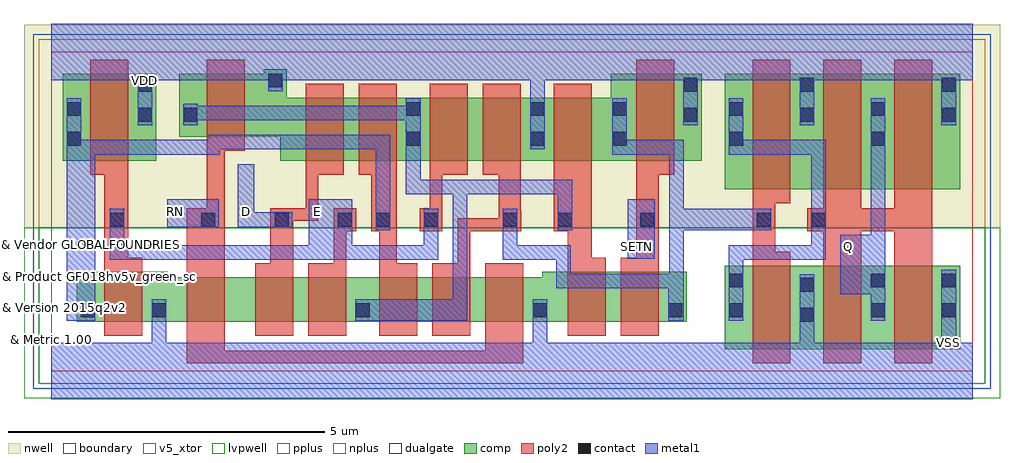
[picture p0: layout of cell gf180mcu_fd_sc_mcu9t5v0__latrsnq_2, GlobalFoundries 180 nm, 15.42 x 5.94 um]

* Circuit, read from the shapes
.subckt gf180mcu_fd_sc_mcu9t5v0__latrsnq_2 D E Q RN SETN VDD VSS
XM1 VSS E n1 VSUBS nfet_05v0 w=0.79u l=0.6u
XM2 n2 RN VSS VSUBS nfet_05v0 w=0.7u l=0.6u
XM3 n3 D n2 VSUBS nfet_05v0 w=0.7u l=0.6u
XM4 n4 E n3 VSUBS nfet_05v0 w=0.7u l=0.6u
XM5 n5 n1 n4 VSUBS nfet_05v0 w=0.7u l=0.6u
XM6 n6 n7 n5 VSUBS nfet_05v0 w=0.7u l=0.6u
XM7 VSS RN n6 VSUBS nfet_05v0 w=0.7u l=0.6u
XM8 n8 n4 VSS VSUBS nfet_05v0 w=0.79u l=0.6u
XM9 n7 SETN n8 VSUBS nfet_05v0 w=0.79u l=0.6u
XM10 VSS n7 n9 VSUBS nfet_05v0 w=1.32u l=0.6u
XM11 Q n9 VSS VSUBS nfet_05v0 w=1.32u l=0.6u m=2
XM12 VDD E n1 n10 pfet_05v0 w=1.38u l=0.6u
XM13 VDD RN n4 n10 pfet_05v0 w=1u l=0.6u
XM14 n11 D VDD n10 pfet_05v0 w=1u l=0.6u
XM15 n4 n1 n11 n10 pfet_05v0 w=1u l=0.6u
XM16 n12 E n4 n10 pfet_05v0 w=1u l=0.6u
XM17 VDD n7 n12 n10 pfet_05v0 w=1u l=0.6u
XM18 n7 n4 VDD n10 pfet_05v0 w=1u l=0.6u
XM19 VDD SETN n7 n10 pfet_05v0 w=1.38u l=0.6u
XM20 VDD n7 n9 n10 pfet_05v0 w=1.83u l=0.6u
XM21 Q n9 VDD n10 pfet_05v0 w=1.83u l=0.6u m=2
.ends

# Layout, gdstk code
import gdstk
lib = gdstk.Library(unit=1e-6, precision=1e-09)
def R(c, l, rs):  # rectangles x0, y0, x1, y1
    for r in rs: c.add(gdstk.rectangle(r[:2], r[2:], *l))
def P(c, l, *ps):  # polygons
    for p in ps: c.add(gdstk.Polygon(p, *l))
boundary = (0, 0)
nwell = (21, 0)
comp = (22, 0)
poly2 = (30, 0)
pplus = (31, 0)
nplus = (32, 0)
contact = (33, 0)
metal1 = (34, 0)
dualgate = (55, 0)
v5_xtor = (112, 1)
lvpwell = (204, 0)

gf180mcu_fd_sc_mcu9t5v0_ = lib.new_cell('gf180mcu_fd_sc_mcu9t5v0__latrsnq_2')
R(gf180mcu_fd_sc_mcu9t5v0_, boundary, [(0,0,14.56,5.04)])
R(gf180mcu_fd_sc_mcu9t5v0_, nwell, [(-0.43,2.265,14.99,5.47)])
R(gf180mcu_fd_sc_mcu9t5v0_, comp, [(10.64,0.345,14.36,1.665), (10.64,2.87,14.36,4.7), (0.18,3.32,1.66,4.7)])
P(gf180mcu_fd_sc_mcu9t5v0_, comp, [(0.4,0.78),(0.4,1.57),(1.84,1.57),(1.84,1.48),(7.76,1.48),(7.76,1.57),(10.04,1.57),(10.04,0.78)],
  [(3.62,3.32),(3.62,3.7),(2.02,3.7),(2.02,4.7),(3.36,4.7),(3.36,4.77),(3.72,4.77),(3.72,4.32),(8.84,4.32),(8.84,4.7),(10.28,4.7),(10.28,3.32)])
P(gf180mcu_fd_sc_mcu9t5v0_, poly2, [(0.84,0.56),(0.84,3.1),(0.62,3.1),(0.62,4.92),(1.22,4.92),(1.22,1.79),(1.44,1.79),(1.44,0.56)],
  [(3.22,0.56),(3.22,1.7),(3.46,1.7),(3.46,2.57),(4.02,2.57),(4.02,4.54),(4.62,4.54),(4.62,3.1),(4.22,3.1),(4.22,2.37),(3.82,2.37),(3.82,0.56)],
  [(4.06,0.56),(4.06,1.7),(4.46,1.7),(4.46,2.57),(4.82,2.57),(4.82,2.21),(4.66,2.21),(4.66,0.56)],
  [(5.18,0.56),(5.18,2.21),(5.06,2.21),(5.06,3.1),(4.86,3.1),(4.86,4.54),(5.46,4.54),(5.46,1.7),(5.78,1.7),(5.78,0.56)],
  [(5.82,2.21),(5.82,2.57),(5.98,2.57),(5.98,4.54),(6.58,4.54),(6.58,3.1),(6.18,3.1),(6.18,2.21)],
  [(6.02,0.56),(6.02,1.7),(6.42,1.7),(6.42,2.41),(7.07,2.41),(7.07,3.1),(6.82,3.1),(6.82,4.54),(7.42,4.54),(7.42,2.54),(7.43,2.54),(7.43,2.21),(6.62,2.21),(6.62,0.56)],
  [(2.145,0.12),(2.145,0.56),(2.14,0.56),(2.14,2.57),(2.46,2.57),(2.46,4.92),(3.06,4.92),(3.06,3.48),(2.74,3.48),(2.74,0.32),(6.86,0.32),(6.86,1.7),(7.46,1.7),(7.46,0.12)],
  [(8.16,0.56),(8.16,2.21),(7.94,2.21),(7.94,4.54),(8.54,4.54),(8.54,1.79),(8.76,1.79),(8.76,0.56)],
  [(9,0.56),(9,1.79),(9.24,1.79),(9.24,4.92),(9.84,4.92),(9.84,3.1),(9.6,3.1),(9.6,0.56)],
  [(11.08,0.125),(11.08,4.92),(11.68,4.92),(11.68,2.65),(11.44,2.65),(11.44,1.885),(11.68,1.885),(11.68,0.125)],
  [(12.2,0.125),(12.2,2.21),(11.945,2.21),(11.945,2.57),(12.2,2.57),(12.2,4.92),(12.8,4.92),(12.8,2.57),(13.32,2.57),(13.32,4.92),(13.92,4.92),(13.92,0.125),(13.32,0.125),(13.32,2.21),(12.8,2.21),(12.8,0.125)])
R(gf180mcu_fd_sc_mcu9t5v0_, pplus, [(-0.2,2.265,14.76,5.24)])
R(gf180mcu_fd_sc_mcu9t5v0_, nplus, [(-0.2,-0.2,14.76,2.265)])
R(gf180mcu_fd_sc_mcu9t5v0_, contact, [(11.83,0.78,12.05,1), (0.47,0.85,0.69,1.07), (1.59,0.85,1.81,1.07), (4.81,0.85,5.03,1.07), (7.61,0.85,7.83,1.07), (9.75,0.85,9.97,1.07), (10.71,0.85,10.93,1.07), (12.95,0.85,13.17,1.07), (14.07,0.85,14.29,1.07), (11.83,1.25,12.05,1.47), (10.71,1.32,10.93,1.54), (12.95,1.32,13.17,1.54), (14.07,1.32,14.29,1.54), (0.93,2.28,1.15,2.5), (2.37,2.28,2.59,2.5), (3.53,2.28,3.75,2.5), (4.53,2.28,4.75,2.5), (5.13,2.28,5.35,2.5), (5.89,2.28,6.11,2.5), (7.14,2.28,7.36,2.5), (8.01,2.28,8.23,2.5), (9.31,2.28,9.53,2.5), (11.15,2.28,11.37,2.5), (12.015,2.28,12.235,2.5), (0.25,3.56,0.47,3.78), (5.61,3.56,5.83,3.78), (7.57,3.56,7.79,3.78), (8.87,3.56,9.09,3.78), (10.71,3.56,10.93,3.78), (12.95,3.56,13.17,3.78), (1.37,3.94,1.59,4.16), (2.09,3.94,2.31,4.16), (9.99,3.94,10.21,4.16), (11.83,3.94,12.05,4.16), (14.07,3.94,14.29,4.16), (0.25,4.03,0.47,4.25), (5.61,4.03,5.83,4.25), (7.57,4.03,7.79,4.25), (8.87,4.03,9.09,4.25), (10.71,4.03,10.93,4.25), (12.95,4.03,13.17,4.25), (1.37,4.41,1.59,4.63), (9.99,4.41,10.21,4.63), (11.83,4.41,12.05,4.63), (14.07,4.41,14.29,4.63), (3.43,4.48,3.65,4.7)])
R(gf180mcu_fd_sc_mcu9t5v0_, metal1, [(9.11,1.77,9.535,2.71), (1.83,2.275,2.65,2.71)])
P(gf180mcu_fd_sc_mcu9t5v0_, metal1, [(2.95,2.275),(2.95,3.27),(3.21,3.27),(3.21,2.505),(3.81,2.505),(3.81,2.275)],
  [(0.245,0.79),(0.245,4.31),(0.475,4.31),(0.475,3.65),(2.49,3.65),(2.49,3.73),(5.355,3.73),(5.355,2.22),(5.125,2.22),(5.125,3.5),(2.665,3.5),(2.665,3.42),(0.695,3.42),(0.695,0.79)],
  [(0.925,1.76),(0.925,2.56),(1.155,2.56),(1.155,1.99),(4.07,1.99),(4.07,2.71),(4.755,2.71),(4.755,1.99),(5.885,1.99),(5.885,2.56),(6.115,2.56),(6.115,1.76)],
  [(4.805,0.79),(4.805,1.13),(6.345,1.13),(6.345,2.79),(5.605,2.79),(5.605,3.96),(2.315,3.96),(2.315,3.88),(2.085,3.88),(2.085,4.22),(2.315,4.22),(2.315,4.19),(5.605,4.19),(5.605,4.31),(5.835,4.31),(5.835,3.02),(8.235,3.02),(8.235,2.22),(8.005,2.22),(8.005,2.79),(6.575,2.79),(6.575,0.79)],
  [(9.745,0.79),(9.745,1.31),(7.98,1.31),(7.98,1.76),(7.135,1.76),(7.135,2.56),(7.365,2.56),(7.365,1.99),(8.21,1.99),(8.21,1.54),(9.765,1.54),(9.765,3.42),(8.865,3.42),(8.865,4.31),(9.095,4.31),(9.095,3.65),(9.995,3.65),(9.995,2.56),(11.375,2.56),(11.375,2.22),(9.995,2.22),(9.995,0.79)],
  [(10.705,0.79),(10.705,1.99),(12.01,1.99),(12.01,3.42),(10.705,3.42),(10.705,4.31),(10.935,4.31),(10.935,3.65),(12.24,3.65),(12.24,1.76),(10.935,1.76),(10.935,0.79)],
  [(12.945,0.79),(12.945,1.21),(12.47,1.21),(12.47,2.15),(12.945,2.15),(12.945,4.31),(13.175,4.31),(13.175,0.79)],
  [(0,-0.45),(0,0.45),(1.585,0.45),(1.585,1.13),(1.815,1.13),(1.815,0.45),(7.605,0.45),(7.605,1.13),(7.835,1.13),(7.835,0.45),(11.825,0.45),(11.825,1.53),(12.055,1.53),(12.055,0.45),(14.065,0.45),(14.065,1.6),(14.295,1.6),(14.295,0.45),(14.56,0.45),(14.56,-0.45)],
  [(7.565,3.5),(7.565,4.59),(3.655,4.59),(3.655,4.42),(3.425,4.42),(3.425,4.59),(1.595,4.59),(1.595,3.88),(1.365,3.88),(1.365,4.59),(0,4.59),(0,5.49),(14.56,5.49),(14.56,4.59),(14.295,4.59),(14.295,3.88),(14.065,3.88),(14.065,4.59),(12.055,4.59),(12.055,3.88),(11.825,3.88),(11.825,4.59),(10.215,4.59),(10.215,3.88),(9.985,3.88),(9.985,4.59),(7.795,4.59),(7.795,3.5)])
R(gf180mcu_fd_sc_mcu9t5v0_, dualgate, [(-0.28,-0.28,14.84,5.32)])
R(gf180mcu_fd_sc_mcu9t5v0_, v5_xtor, [(0,0,14.56,5.04)])
R(gf180mcu_fd_sc_mcu9t5v0_, lvpwell, [(-0.43,-0.43,14.99,2.265)])
gf180mcu_fd_sc_mcu9t5v0_.add(gdstk.Label('D', (3.08,2.52), layer=34, texttype=10))
gf180mcu_fd_sc_mcu9t5v0_.add(gdstk.Label('E', (4.2,2.52), layer=34, texttype=10))
gf180mcu_fd_sc_mcu9t5v0_.add(gdstk.Label('Q', (12.6,1.96), layer=34, texttype=10))
gf180mcu_fd_sc_mcu9t5v0_.add(gdstk.Label('RN', (1.96,2.52), layer=34, texttype=10))
gf180mcu_fd_sc_mcu9t5v0_.add(gdstk.Label('SETN', (9.24,1.96), layer=34, texttype=10))
gf180mcu_fd_sc_mcu9t5v0_.add(gdstk.Label('VDD', (1.48,4.59), layer=34, texttype=10))
gf180mcu_fd_sc_mcu9t5v0_.add(gdstk.Label('VSS', (14.18,0.45), layer=34, texttype=10))
gf180mcu_fd_sc_mcu9t5v0_.add(gdstk.Label('& Vendor GLOBALFOUNDRIES', (0,2), layer=63, texttype=63))
gf180mcu_fd_sc_mcu9t5v0_.add(gdstk.Label('& Product GF018hv5v_green_sc9', (0,1.5), layer=63, texttype=63))
gf180mcu_fd_sc_mcu9t5v0_.add(gdstk.Label('& Version 2015q2v2', (0,1), layer=63, texttype=63))
gf180mcu_fd_sc_mcu9t5v0_.add(gdstk.Label('& Metric 1.00', (0,0.5), layer=63, texttype=63))

lib.write_gds('gf180mcu_fd_sc_mcu9t5v0__latrsnq_2.gds')
